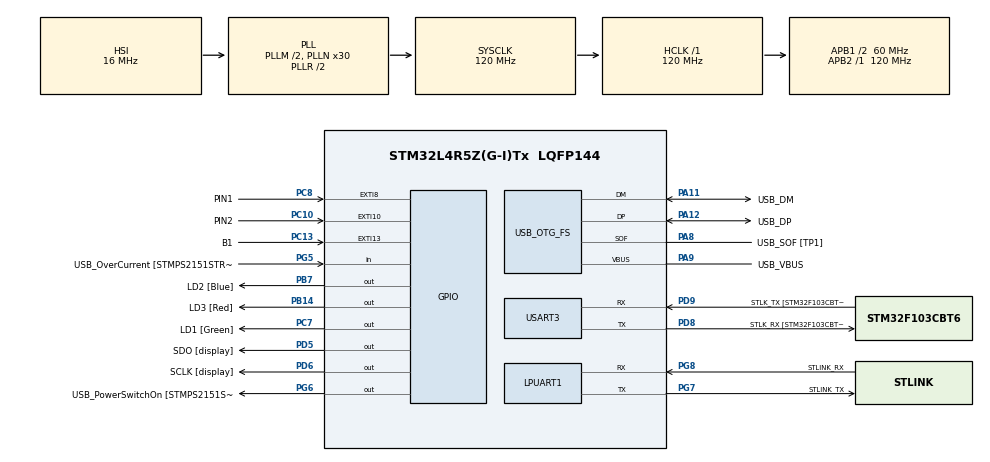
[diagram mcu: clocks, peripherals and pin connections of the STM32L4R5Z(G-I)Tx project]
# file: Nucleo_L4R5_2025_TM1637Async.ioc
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Mcu.Family=STM32L4
Mcu.Name=STM32L4R5Z(G-I)Tx
Mcu.Package=LQFP144
NVIC.EXTI15_10_IRQn=true\:0\:0\:false\:false\:true\:true\:true\:true
NVIC.EXTI9_5_IRQn=true\:0\:0\:false\:false\:true\:true\:true\:true
NVIC.PriorityGroup=NVIC_PRIORITYGROUP_4
NVIC.TIM6_DAC_IRQn=true\:0\:0\:false\:false\:true\:true\:true\:true
NVIC.TIM7_IRQn=true\:0\:0\:false\:false\:true\:true\:true\:true
PA10.GPIO_Label=USB_ID
PA10.Signal=USB_OTG_FS_ID
PA11.GPIO_Label=USB_DM
PA11.Mode=Device_Only
PA11.Signal=USB_OTG_FS_DM
PA12.GPIO_Label=USB_DP
PA12.Mode=Device_Only
PA12.Signal=USB_OTG_FS_DP
PA13\ (JTMS/SWDIO).GPIO_Label=TMS
PA13\ (JTMS/SWDIO).Mode=Serial_Wire
PA13\ (JTMS/SWDIO).Signal=SYS_JTMS-SWDIO
PA14\ (JTCK/SWCLK).GPIO_Label=TCK
PA14\ (JTCK/SWCLK).Mode=Serial_Wire
PA14\ (JTCK/SWCLK).Signal=SYS_JTCK-SWCLK
PA8.GPIO_Label=USB_SOF [TP1]
PA8.Mode=Activate_SOF_FS
PA8.Signal=USB_OTG_FS_SOF
PA9.GPIO_Label=USB_VBUS
PA9.Mode=Activate_VBUS
PA9.Signal=USB_OTG_FS_VBUS
PB14.GPIO_Label=LD3 [Red]
PB14.Signal=GPIO_Output
PB3\ (JTDO/TRACESWO).GPIO_Label=SWO
PB3\ (JTDO/TRACESWO).Signal=SYS_JTDO-SWO
PB7.GPIO_Label=LD2 [Blue]
PB7.Signal=GPIO_Output
PC10.GPIO_Label=PIN2
PC10.GPIO_ModeDefaultEXTI=GPIO_MODE_IT_FALLING
PC10.GPIO_PuPd=GPIO_PULLUP
PC10.Signal=GPXTI10
PC13.GPIO_Label=B1
PC13.Signal=GPXTI13
PC14-OSC32_IN\ (PC14).Mode=LSE-External-Oscillator
PC14-OSC32_IN\ (PC14).Signal=RCC_OSC32_IN
PC15-OSC32_OUT\ (PC15).Mode=LSE-External-Oscillator
PC15-OSC32_OUT\ (PC15).Signal=RCC_OSC32_OUT
PC7.GPIO_Label=LD1 [Green]
PC7.Signal=GPIO_Output
PC8.GPIO_Label=PIN1
PC8.GPIO_ModeDefaultEXTI=GPIO_MODE_IT_FALLING
PC8.GPIO_PuPd=GPIO_PULLUP
PC8.Signal=GPXTI8
PD5.GPIO_Label=SDO [display]
PD5.GPIO_ModeDefaultOutputPP=GPIO_MODE_OUTPUT_OD
PD5.GPIO_PuPd=GPIO_NOPULL
PD5.GPIO_Speed=GPIO_SPEED_FREQ_VERY_HIGH
PD5.Signal=GPIO_Output
PD6.GPIO_Label=SCLK [display]
PD6.GPIO_ModeDefaultOutputPP=GPIO_MODE_OUTPUT_OD
PD6.GPIO_PuPd=GPIO_NOPULL
PD6.GPIO_Speed=GPIO_SPEED_FREQ_VERY_HIGH
PD6.Signal=GPIO_Output
PD8.GPIO_Label=STLK_RX [STM32F103CBT6_PA3]
PD8.Mode=Asynchronous
PD8.Signal=USART3_TX
PD9.GPIO_Label=STLK_TX [STM32F103CBT6_PA2]
PD9.Mode=Asynchronous
PD9.Signal=USART3_RX
PG5.GPIO_Label=USB_OverCurrent [STMPS2151STR_FAULT]
PG5.Signal=GPIO_Input
PG6.GPIO_Label=USB_PowerSwitchOn [STMPS2151STR_EN]
PG6.Signal=GPIO_Output
PG7.GPIO_Label=STLINK_TX
PG7.Mode=Asynchronous
PG7.Signal=LPUART1_TX
PG8.GPIO_Label=STLINK_RX
PG8.Mode=Asynchronous
PG8.Signal=LPUART1_RX
PH0-OSC_IN\ (PH0).Signal=RCC_OSC_IN
PH1-OSC_OUT\ (PH1).Signal=RCC_OSC_OUT
ProjectManager.HeapSize=0x200
ProjectManager.StackSize=0x400
ProjectManager.TargetToolchain=STM32CubeIDE
RCC.48MHZClocksFreq_Value=24000000
RCC.ADCFreq_Value=96000000
RCC.AHBFreq_Value=120000000
RCC.APB1CLKDivider=RCC_HCLK_DIV2
RCC.APB1Freq_Value=60000000
RCC.APB1TimFreq_Value=120000000
RCC.APB2Freq_Value=120000000
RCC.APB2TimFreq_Value=120000000
RCC.CK48CLockSelection=RCC_USBCLKSOURCE_HSI48
RCC.CortexFreq_Value=120000000
RCC.HCLKFreq_Value=120000000
RCC.HSE_VALUE=8000000
RCC.HSI48_VALUE=48000000
RCC.HSI_VALUE=16000000
RCC.MSI_VALUE=4000000
RCC.PLLM1=2
RCC.PLLMUL=RCC_PLL_MUL9
RCC.PLLN=30
RCC.PLLSAI1N=12
RCC.PLLSourceVirtual=RCC_PLLSOURCE_HSI
RCC.PRESCALERUSB=RCC_USBCLKSOURCE_PLL_DIV1_5
RCC.SYSCLKFreq_VALUE=120000000
RCC.SYSCLKSource=RCC_SYSCLKSOURCE_PLLCLK
RCC.SYSCLKSourceVirtual=RCC_SYSCLKSOURCE_PLLCLK
RCC.USBFreq_Value=48000000
RCC.VCOOutputFreq_Value=240000000
TIM6.Period=10000
TIM6.Prescaler=12000-1
TIM7.Period=10
TIM7.Prescaler=120-1
USART3.VirtualMode-Asynchronous=VM_ASYNC
USB_OTG_FS.VirtualMode=Device_Only
VP_TIM5_VS_ClockSourceINT.Mode=Internal
VP_TIM6_VS_ClockSourceINT.Mode=Enable_Timer
VP_TIM7_VS_ClockSourceINT.Mode=Enable_Timer
board=NUCLEO-L4R5ZI

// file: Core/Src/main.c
/* USER CODE BEGIN Header */
/**
  ******************************************************************************
  * @file           : main.c
  * @brief          : Main program body
  ******************************************************************************
  * @attention
  *
  * Copyright (c) 2024 STMicroelectronics.
  * All rights reserved.
  *
  * This software is licensed under terms that can be found in the LICENSE file
  * in the root directory of this software component.
  * If no LICENSE file comes with this software, it is provided AS-IS.
  *
  ******************************************************************************
  */
/* USER CODE END Header */
#include "main.h"

/* USER CODE BEGIN Includes */
#include "TM1637_ASYNC_Display.h"
/* USER CODE END Includes */

UART_HandleTypeDef hlpuart1;
UART_HandleTypeDef huart3;

TIM_HandleTypeDef htim5;
TIM_HandleTypeDef htim6;
TIM_HandleTypeDef htim7;

PCD_HandleTypeDef hpcd_USB_OTG_FS;

void SystemClock_Config(void);
static void MX_GPIO_Init(void);
static void MX_LPUART1_UART_Init(void);
static void MX_USART3_UART_Init(void);
static void MX_USB_OTG_FS_PCD_Init(void);
static void MX_TIM6_Init(void);
static void MX_TIM7_Init(void);
static void MX_TIM5_Init(void);

/* USER CODE BEGIN 0 */

volatile uint32_t *TimeStamp_CNT;
uint32_t t1, t2, t3;
void TM1637_X()// posle testovaci data na TM1637
{
	t1 = TimeStamp_CNT[0]; t3=0;
	static uint8_t br=0;
	uint8_t x[4];
	if(br>6)br=0; else br++;
	switch(br) {
	  case 0: x[0]=char2segments('i');x[1]=char2segments('t');x[2]=char2segments('e');x[3]=char2segments(' ');	    break;
	  case 1: x[0]=char2segments('A');x[1]=char2segments('H');x[2]=char2segments('O');x[3]=char2segments('J');	    break;
	  case 2: x[0]=char2segments('1');x[1]=char2segments('2');x[2]=char2segments('3');x[3]=char2segments('4');	    break;
	  case 3: x[0]=char2segments('5');x[1]=char2segments('6');x[2]=char2segments('7');x[3]=char2segments('8');	    break;
	  case 4: x[0]=char2segments('9');x[1]=char2segments('0');x[2]=char2segments(' ');x[3]=char2segments('*');	    break;
	  case 5: x[0]=char2segments('_');x[1]=char2segments('_');x[2]=char2segments('-');x[3]=char2segments('_');	    break;
//	  case 0: x[0]=0x01;x[1]=0x00;x[2]=0x00;x[3]=0x00;	    break;
//	  case 1: x[0]=0x00;x[1]=0x00;x[2]=0x00;x[3]=0x00;	    break;
//	  case 2: x[0]=0xFF;x[1]=0xFF;x[2]=0xFF;x[3]=0xFF;	    break;
//	  case 3: x[0]=0x00;x[1]=0x00;x[2]=0x00;x[3]=0x00;	    break;
//	  case 4: x[0]=0x00;x[1]=0x00;x[2]=0x00;x[3]=0x00;	    break;
//	  case 5: x[0]=0xFF;x[1]=0xFF;x[2]=0xFF;x[3]=0xFF;	    break;
	  case 6: x[0]=0xFF;x[1]=0xFF;x[2]=0xFF;x[3]=0xFF;	    break;
	  case 7: x[0]=0x00;x[1]=0x00;x[2]=0x00;x[3]=0x00;	    break;
	  default:
	  	  	  x[0]=char2segments('L');x[1]=char2segments('4');x[2]=char2segments('R');x[3]=char2segments('5');	    break;
	}

	TM1637_display_MyData(x, br);
	//TM1637_display("AHOJ");
	t1=TimeStamp_CNT[0]-t1;
	t1= t1+0;

}

void TM1637_X1()// posle testovaci data na TM1637
{
	t1 = TimeStamp_CNT[0]; t3=0;
	static uint8_t br=0;
	uint8_t x[4];
	switch(br) {
	  case 0: x[0]=0x00;x[1]=0x80;x[2]=0x00;x[3]=0x00;	    break;//dvojtecka
	  case 1: x[0]=0x01;x[1]=0x00;x[2]=0x00;x[3]=0x00;	    break;
	  case 2: x[0]=0x02;x[1]=0x00;x[2]=0x00;x[3]=0x00;	    break;
	  case 3: x[0]=0x04;x[1]=0x00;x[2]=0x00;x[3]=0x00;	    break;
	  case 4: x[0]=0x08;x[1]=0x00;x[2]=0x00;x[3]=0x00;	    break;
	  case 5: x[0]=0x10;x[1]=0x00;x[2]=0x00;x[3]=0x00;	    break;
	  case 6: x[0]=0x20;x[1]=0x80;x[2]=0x80;x[3]=0x80;	    break;
	  case 7: x[0]=0x40;x[1]=0x00;x[2]=0x80;x[3]=0x00;	    break;
	  default:
	  	  	  x[0]=char2segments('L');x[1]=char2segments('4');x[2]=char2segments('R');x[3]=char2segments('5');	    break;
	}
	if(br==7)br=0; else br++;
	TM1637_display_MyData(x, 3);
	//TM1637_display("AHOJ");
	t1=TimeStamp_CNT[0]-t1;
	t1= t1+0;

}

void HAL_TIM_PeriodElapsedCallback(TIM_HandleTypeDef *htim)
{
	if(htim == &htim6)
	{
		HAL_GPIO_TogglePin(LD2_GPIO_Port, LD2_Pin);
		//SendData2MTLB(1010, (uint8_t *)(my_msg+1), 1); my_msg[1]++;
		//if(!(my_msg[1] % 3))TM1637_X();
		//TM1637_X1();
		if(!HAL_GPIO_ReadPin(PIN2_GPIO_Port, PIN2_Pin))
			TM1637_Show_Time_HHMM_Next();
		else
			TM1637_Show_Time_MMSS_Next();
		return;
	}
//	if(TM1637_Get_disp_X())
//	{
//		t2 = TimeStamp_CNT[0];
		TM1637_Process_Data_Display(&htim7);
//		t2 =TimeStamp_CNT[0]-t2;
//		t3= t3 + t2;
//	}

}

void HAL_GPIO_EXTI_Callback(uint16_t GPIO_Pin)
{
  if(GPIO_Pin==PIN1_Pin)
  {
	  HAL_GPIO_WritePin(LD3_GPIO_Port, LD3_Pin, GPIO_PIN_SET);
	  return;
  }
  if(GPIO_Pin==PIN2_Pin)
  {
	  HAL_GPIO_WritePin(LD3_GPIO_Port, LD3_Pin, GPIO_PIN_RESET);
	  return;
  }

}

/* USER CODE END 0 */

int main(void)
{

  /* MCU Configuration--------------------------------------------------------*/

  /* Reset of all peripherals, Initializes the Flash interface and the Systick. */
  HAL_Init();

  /* Configure the system clock */
  SystemClock_Config();

  /* Initialize all configured peripherals */
  MX_GPIO_Init();
  MX_LPUART1_UART_Init();
  MX_USART3_UART_Init();
  MX_USB_OTG_FS_PCD_Init();
  MX_TIM6_Init();
  MX_TIM7_Init();
  MX_TIM5_Init();
  /* USER CODE BEGIN 2 */
  HAL_GPIO_WritePin(LD1_GPIO_Port, LD1_Pin, GPIO_PIN_SET);
  HAL_GPIO_WritePin(LD3_GPIO_Port, LD3_Pin, GPIO_PIN_RESET);

  HAL_TIM_Base_Start(&htim5);
  TimeStamp_CNT = &((&htim5)->Instance->CNT);

  HAL_TIM_Base_Start_IT(&htim6);//heartBeat 1Hz
  HAL_TIM_Base_Start_IT(&htim7);//display driver

  TM1637_Init(&htim7, SCLK_GPIO_Port, SCLK_Pin, SDO_GPIO_Port, SDO_Pin, 1);

  TM1637_Set_Brightness(2);
  //TM1637_Show_Time_MMSS(0, 0);
  TM1637_Time_SET(0, 0, 0);

  /* USER CODE END 2 */

  /* Infinite loop */
  while (1)
  {

    /* USER CODE BEGIN 3 */

	  //maly test na B1
	  if(HAL_GPIO_ReadPin(B1_GPIO_Port, B1_Pin))
	  {
		  uint8_t x[4]={0, 0,0,0};
		  	TM1637_display_MyData(x, 8);
		  	HAL_Delay(100);
		  	x[1]=0x80;
		  	TM1637_display_MyData(x, 8);
		  	HAL_Delay(100);
		  	x[1]=0x00;
	  }

	  //if(HAL_GPIO_ReadPin(B1_GPIO_Port, B1_Pin))
      //if(HAL_GPIO_ReadPin(PIN1_GPIO_Port, PIN1_Pin))
      if(HAL_GPIO_ReadPin(LD3_GPIO_Port, LD3_Pin)) //efekt behani dokola jednoho segmentu
	  {
	  	  TM1637_Show_Time_PAUSE();//stopne vypis casu
    	  uint8_t x[12* 4]={ 1,0,0,0, 0,1,0,0, 0,0,1,0, 0,0,0,1, 0,0,0,2, 0,0,0,4, 0,0,0,8, 0,0,8,0, 0,8,0,0, 8,0,0,0, 16,0,0,0, 32,0,0,0};
		  static uint8_t nx=0;
		  TM1637_display_MyData(x+nx, 8);
		  nx=nx+4;
		  if(nx>(sizeof(x)-1))nx=0;
		  HAL_Delay(100);
	  }
      else
    	  TM1637_Show_Time_RESUME();

  }
  /* USER CODE END 3 */
}

void SystemClock_Config(void)
{
  RCC_OscInitTypeDef RCC_OscInitStruct = {0};
  RCC_ClkInitTypeDef RCC_ClkInitStruct = {0};

  /** Configure the main internal regulator output voltage
  */
  if (HAL_PWREx_ControlVoltageScaling(PWR_REGULATOR_VOLTAGE_SCALE1_BOOST) != HAL_OK)
  {
    Error_Handler();
  }

  /** Initializes the RCC Oscillators according to the specified parameters
  * in the RCC_OscInitTypeDef structure.
  */
  RCC_OscInitStruct.OscillatorType = RCC_OSCILLATORTYPE_HSI48|RCC_OSCILLATORTYPE_HSI;
  RCC_OscInitStruct.HSIState = RCC_HSI_ON;
  RCC_OscInitStruct.HSI48State = RCC_HSI48_ON;
  RCC_OscInitStruct.HSICalibrationValue = RCC_HSICALIBRATION_DEFAULT;
  RCC_OscInitStruct.PLL.PLLState = RCC_PLL_ON;
  RCC_OscInitStruct.PLL.PLLSource = RCC_PLLSOURCE_HSI;
  RCC_OscInitStruct.PLL.PLLM = 2;
  RCC_OscInitStruct.PLL.PLLN = 30;
  RCC_OscInitStruct.PLL.PLLP = RCC_PLLP_DIV2;
  RCC_OscInitStruct.PLL.PLLQ = RCC_PLLQ_DIV2;
  RCC_OscInitStruct.PLL.PLLR = RCC_PLLR_DIV2;
  if (HAL_RCC_OscConfig(&RCC_OscInitStruct) != HAL_OK)
  {
    Error_Handler();
  }

  /** Initializes the CPU, AHB and APB buses clocks
  */
  RCC_ClkInitStruct.ClockType = RCC_CLOCKTYPE_HCLK|RCC_CLOCKTYPE_SYSCLK
                              |RCC_CLOCKTYPE_PCLK1|RCC_CLOCKTYPE_PCLK2;
  RCC_ClkInitStruct.SYSCLKSource = RCC_SYSCLKSOURCE_PLLCLK;
  RCC_ClkInitStruct.AHBCLKDivider = RCC_SYSCLK_DIV1;
  RCC_ClkInitStruct.APB1CLKDivider = RCC_HCLK_DIV2;
  RCC_ClkInitStruct.APB2CLKDivider = RCC_HCLK_DIV1;

  if (HAL_RCC_ClockConfig(&RCC_ClkInitStruct, FLASH_LATENCY_5) != HAL_OK)
  {
    Error_Handler();
  }
}

static void MX_LPUART1_UART_Init(void)
{

  hlpuart1.Instance = LPUART1;
  hlpuart1.Init.BaudRate = 209700;
  hlpuart1.Init.WordLength = UART_WORDLENGTH_7B;
  hlpuart1.Init.StopBits = UART_STOPBITS_1;
  hlpuart1.Init.Parity = UART_PARITY_NONE;
  hlpuart1.Init.Mode = UART_MODE_TX_RX;
  hlpuart1.Init.HwFlowCtl = UART_HWCONTROL_NONE;
  hlpuart1.Init.OneBitSampling = UART_ONE_BIT_SAMPLE_DISABLE;
  hlpuart1.Init.ClockPrescaler = UART_PRESCALER_DIV1;
  hlpuart1.AdvancedInit.AdvFeatureInit = UART_ADVFEATURE_NO_INIT;
  hlpuart1.FifoMode = UART_FIFOMODE_DISABLE;
  if (HAL_UART_Init(&hlpuart1) != HAL_OK)
  {
    Error_Handler();
  }
  if (HAL_UARTEx_SetTxFifoThreshold(&hlpuart1, UART_TXFIFO_THRESHOLD_1_8) != HAL_OK)
  {
    Error_Handler();
  }
  if (HAL_UARTEx_SetRxFifoThreshold(&hlpuart1, UART_RXFIFO_THRESHOLD_1_8) != HAL_OK)
  {
    Error_Handler();
  }
  if (HAL_UARTEx_DisableFifoMode(&hlpuart1) != HAL_OK)
  {
    Error_Handler();
  }

}

static void MX_USART3_UART_Init(void)
{

  huart3.Instance = USART3;
  huart3.Init.BaudRate = 115200;
  huart3.Init.WordLength = UART_WORDLENGTH_8B;
  huart3.Init.StopBits = UART_STOPBITS_1;
  huart3.Init.Parity = UART_PARITY_NONE;
  huart3.Init.Mode = UART_MODE_TX_RX;
  huart3.Init.HwFlowCtl = UART_HWCONTROL_NONE;
  huart3.Init.OverSampling = UART_OVERSAMPLING_16;
  huart3.Init.OneBitSampling = UART_ONE_BIT_SAMPLE_DISABLE;
  huart3.Init.ClockPrescaler = UART_PRESCALER_DIV1;
  huart3.AdvancedInit.AdvFeatureInit = UART_ADVFEATURE_NO_INIT;
  if (HAL_UART_Init(&huart3) != HAL_OK)
  {
    Error_Handler();
  }
  if (HAL_UARTEx_SetTxFifoThreshold(&huart3, UART_TXFIFO_THRESHOLD_1_8) != HAL_OK)
  {
    Error_Handler();
  }
  if (HAL_UARTEx_SetRxFifoThreshold(&huart3, UART_RXFIFO_THRESHOLD_1_8) != HAL_OK)
  {
    Error_Handler();
  }
  if (HAL_UARTEx_DisableFifoMode(&huart3) != HAL_OK)
  {
    Error_Handler();
  }

}

static void MX_TIM5_Init(void)
{

  TIM_ClockConfigTypeDef sClockSourceConfig = {0};
  TIM_MasterConfigTypeDef sMasterConfig = {0};

  htim5.Instance = TIM5;
  htim5.Init.Prescaler = 0;
  htim5.Init.CounterMode = TIM_COUNTERMODE_UP;
  htim5.Init.Period = 4294967295;
  htim5.Init.ClockDivision = TIM_CLOCKDIVISION_DIV1;
  htim5.Init.AutoReloadPreload = TIM_AUTORELOAD_PRELOAD_DISABLE;
  if (HAL_TIM_Base_Init(&htim5) != HAL_OK)
  {
    Error_Handler();
  }
  sClockSourceConfig.ClockSource = TIM_CLOCKSOURCE_INTERNAL;
  if (HAL_TIM_ConfigClockSource(&htim5, &sClockSourceConfig) != HAL_OK)
  {
    Error_Handler();
  }
  sMasterConfig.MasterOutputTrigger = TIM_TRGO_RESET;
  sMasterConfig.MasterSlaveMode = TIM_MASTERSLAVEMODE_DISABLE;
  if (HAL_TIMEx_MasterConfigSynchronization(&htim5, &sMasterConfig) != HAL_OK)
  {
    Error_Handler();
  }

}

static void MX_TIM6_Init(void)
{

  TIM_MasterConfigTypeDef sMasterConfig = {0};

  htim6.Instance = TIM6;
  htim6.Init.Prescaler = 12000-1;
  htim6.Init.CounterMode = TIM_COUNTERMODE_UP;
  htim6.Init.Period = 10000;
  htim6.Init.AutoReloadPreload = TIM_AUTORELOAD_PRELOAD_DISABLE;
  if (HAL_TIM_Base_Init(&htim6) != HAL_OK)
  {
    Error_Handler();
  }
  sMasterConfig.MasterOutputTrigger = TIM_TRGO_RESET;
  sMasterConfig.MasterSlaveMode = TIM_MASTERSLAVEMODE_DISABLE;
  if (HAL_TIMEx_MasterConfigSynchronization(&htim6, &sMasterConfig) != HAL_OK)
  {
    Error_Handler();
  }

}

static void MX_TIM7_Init(void)
{

  TIM_MasterConfigTypeDef sMasterConfig = {0};

  htim7.Instance = TIM7;
  htim7.Init.Prescaler = 120-1;
  htim7.Init.CounterMode = TIM_COUNTERMODE_UP;
  htim7.Init.Period = 10;
  htim7.Init.AutoReloadPreload = TIM_AUTORELOAD_PRELOAD_DISABLE;
  if (HAL_TIM_Base_Init(&htim7) != HAL_OK)
  {
    Error_Handler();
  }
  sMasterConfig.MasterOutputTrigger = TIM_TRGO_RESET;
  sMasterConfig.MasterSlaveMode = TIM_MASTERSLAVEMODE_DISABLE;
  if (HAL_TIMEx_MasterConfigSynchronization(&htim7, &sMasterConfig) != HAL_OK)
  {
    Error_Handler();
  }

}

static void MX_USB_OTG_FS_PCD_Init(void)
{

  hpcd_USB_OTG_FS.Instance = USB_OTG_FS;
  hpcd_USB_OTG_FS.Init.dev_endpoints = 6;
  hpcd_USB_OTG_FS.Init.speed = PCD_SPEED_FULL;
  hpcd_USB_OTG_FS.Init.phy_itface = PCD_PHY_EMBEDDED;
  hpcd_USB_OTG_FS.Init.Sof_enable = ENABLE;
  hpcd_USB_OTG_FS.Init.low_power_enable = DISABLE;
  hpcd_USB_OTG_FS.Init.lpm_enable = DISABLE;
  hpcd_USB_OTG_FS.Init.battery_charging_enable = ENABLE;
  hpcd_USB_OTG_FS.Init.use_dedicated_ep1 = DISABLE;
  hpcd_USB_OTG_FS.Init.vbus_sensing_enable = ENABLE;
  if (HAL_PCD_Init(&hpcd_USB_OTG_FS) != HAL_OK)
  {
    Error_Handler();
  }

}

static void MX_GPIO_Init(void)
{
  GPIO_InitTypeDef GPIO_InitStruct = {0};

  /* GPIO Ports Clock Enable */
  __HAL_RCC_GPIOC_CLK_ENABLE();
  __HAL_RCC_GPIOH_CLK_ENABLE();
  __HAL_RCC_GPIOB_CLK_ENABLE();
  __HAL_RCC_GPIOD_CLK_ENABLE();
  __HAL_RCC_GPIOG_CLK_ENABLE();
  HAL_PWREx_EnableVddIO2();
  __HAL_RCC_GPIOA_CLK_ENABLE();

  /*Configure GPIO pin Output Level */
  HAL_GPIO_WritePin(GPIOB, LD3_Pin|LD2_Pin, GPIO_PIN_RESET);

  /*Configure GPIO pin Output Level */
  HAL_GPIO_WritePin(USB_PowerSwitchOn_GPIO_Port, USB_PowerSwitchOn_Pin, GPIO_PIN_RESET);

  /*Configure GPIO pin Output Level */
  HAL_GPIO_WritePin(LD1_GPIO_Port, LD1_Pin, GPIO_PIN_RESET);

  /*Configure GPIO pin Output Level */
  HAL_GPIO_WritePin(GPIOD, SDO_Pin|SCLK_Pin, GPIO_PIN_RESET);

  /*Configure GPIO pin : B1_Pin */
  GPIO_InitStruct.Pin = B1_Pin;
  GPIO_InitStruct.Mode = GPIO_MODE_IT_RISING;
  GPIO_InitStruct.Pull = GPIO_NOPULL;
  HAL_GPIO_Init(B1_GPIO_Port, &GPIO_InitStruct);

  /*Configure GPIO pins : LD3_Pin LD2_Pin */
  GPIO_InitStruct.Pin = LD3_Pin|LD2_Pin;
  GPIO_InitStruct.Mode = GPIO_MODE_OUTPUT_PP;
  GPIO_InitStruct.Pull = GPIO_NOPULL;
  GPIO_InitStruct.Speed = GPIO_SPEED_FREQ_LOW;
  HAL_GPIO_Init(GPIOB, &GPIO_InitStruct);

  /*Configure GPIO pin : USB_OverCurrent_Pin */
  GPIO_InitStruct.Pin = USB_OverCurrent_Pin;
  GPIO_InitStruct.Mode = GPIO_MODE_INPUT;
  GPIO_InitStruct.Pull = GPIO_NOPULL;
  HAL_GPIO_Init(USB_OverCurrent_GPIO_Port, &GPIO_InitStruct);

  /*Configure GPIO pin : USB_PowerSwitchOn_Pin */
  GPIO_InitStruct.Pin = USB_PowerSwitchOn_Pin;
  GPIO_InitStruct.Mode = GPIO_MODE_OUTPUT_PP;
  GPIO_InitStruct.Pull = GPIO_NOPULL;
  GPIO_InitStruct.Speed = GPIO_SPEED_FREQ_LOW;
  HAL_GPIO_Init(USB_PowerSwitchOn_GPIO_Port, &GPIO_InitStruct);

  /*Configure GPIO pin : LD1_Pin */
  GPIO_InitStruct.Pin = LD1_Pin;
  GPIO_InitStruct.Mode = GPIO_MODE_OUTPUT_PP;
  GPIO_InitStruct.Pull = GPIO_NOPULL;
  GPIO_InitStruct.Speed = GPIO_SPEED_FREQ_LOW;
  HAL_GPIO_Init(LD1_GPIO_Port, &GPIO_InitStruct);

  /*Configure GPIO pins : PIN1_Pin PIN2_Pin */
  GPIO_InitStruct.Pin = PIN1_Pin|PIN2_Pin;
  GPIO_InitStruct.Mode = GPIO_MODE_IT_FALLING;
  GPIO_InitStruct.Pull = GPIO_PULLUP;
  HAL_GPIO_Init(GPIOC, &GPIO_InitStruct);

  /*Configure GPIO pins : SDO_Pin SCLK_Pin */
  GPIO_InitStruct.Pin = SDO_Pin|SCLK_Pin;
  GPIO_InitStruct.Mode = GPIO_MODE_OUTPUT_OD;
  GPIO_InitStruct.Pull = GPIO_NOPULL;
  GPIO_InitStruct.Speed = GPIO_SPEED_FREQ_VERY_HIGH;
  HAL_GPIO_Init(GPIOD, &GPIO_InitStruct);

  /* EXTI interrupt init*/
  HAL_NVIC_SetPriority(EXTI9_5_IRQn, 0, 0);
  HAL_NVIC_EnableIRQ(EXTI9_5_IRQn);

  HAL_NVIC_SetPriority(EXTI15_10_IRQn, 0, 0);
  HAL_NVIC_EnableIRQ(EXTI15_10_IRQn);

}

void Error_Handler(void)
{
  __disable_irq();
  while (1)
  {
  }
}
